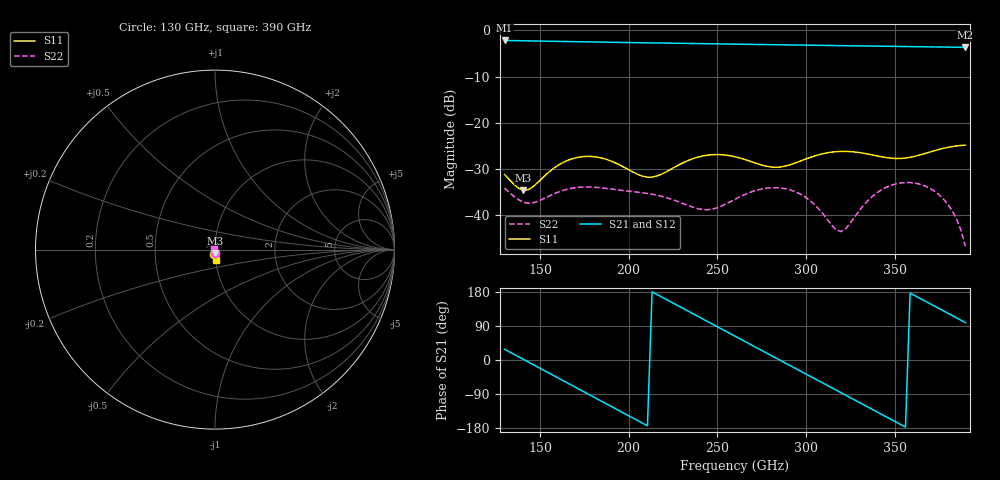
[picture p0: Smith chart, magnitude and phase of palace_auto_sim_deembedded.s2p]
! Created with skrf 1.11.0 (http://scikit-rf.org).
# GHz S DB R 50.0
!freq dBS11 angS11 dBS21 angS21 dBS12 angS12 dBS22 angS22
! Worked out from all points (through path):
!   101 points, 130 GHz to 390 GHz, reference 50 ohm
!   highest |S21| = -2.18 dB at 130 GHz (marker M1); lowest = -3.7 dB at 390 GHz (marker M2)
!   group delay of S21, straight-line fit = 6.94 ps
!   lowest |S11| = -34.7 dB at 140.4 GHz (marker M3), VSWR 1.04, Z = 50.2 - j1.84 ohm
!   |S11| at or under -10 dB: start of sweep to end of sweep
!   |S22| runs from -46.8 to -33.0 dB; largest |S21 - S12| = 8.8e-14
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130  -31.29 -103.7  -2.18 28.3  -2.18 28.3  -34.23 -95.6
140.4  -34.68 -82.7  -2.25 2.2  -2.25 2.2  -37.24 -82.1
156  -30.41 -55.9  -2.35 -36.9  -2.35 -36.9  -35.76 -59.3
174.2  -27.38 -74.7  -2.47 -82.5  -2.47 -82.5  -33.99 -67.3
187.2  -27.95 -90.2  -2.55 -115.1  -2.55 -115.1  -34.27 -75.0
200.2  -30.28 -95.4  -2.63 -147.6  -2.63 -147.6  -34.88 -79.5
218.4  -31.21 -71.6  -2.74 166.9  -2.74 166.9  -35.98 -85.9
228.8  -29.08 -66.9  -2.80 140.9  -2.80 140.9  -37.28 -87.3
239.2  -27.48 -72.7  -2.86 114.9  -2.86 114.9  -38.68 -80.9
249.6  -26.93 -82.1  -2.92 88.9  -2.92 88.9  -38.53 -67.7
260  -27.41 -90.3  -2.98 62.9  -2.98 62.9  -36.64 -62.6
273  -28.97 -92.1  -3.05 30.4  -3.05 30.4  -34.59 -71.9
283.4  -29.69 -83.6  -3.11 4.5  -3.11 4.5  -34.12 -85.6
293.8  -28.79 -74.8  -3.17 -21.5  -3.17 -21.5  -34.96 -100.7
304.2  -27.32 -74.4  -3.22 -47.4  -3.22 -47.4  -37.53 -112.7
319.8  -26.25 -83.1  -3.31 -86.3  -3.31 -86.3  -43.64 -82.8
332.8  -26.67 -89.6  -3.37 -118.7  -3.37 -118.7  -37.82 -55.6
348.4  -27.73 -87.0  -3.46 -157.6  -3.46 -157.6  -33.56 -79.0
361.4  -27.32 -78.9  -3.53 170.0  -3.53 170.0  -33.12 -107.5
374.4  -25.90 -77.6  -3.60 137.7  -3.60 137.7  -35.41 -139.1
384.8  -25.07 -82.0  -3.65 111.8  -3.65 111.8  -40.75 -168.1
390  -24.89 -84.9  -3.68 98.8  -3.68 98.8  -46.81 171.1
